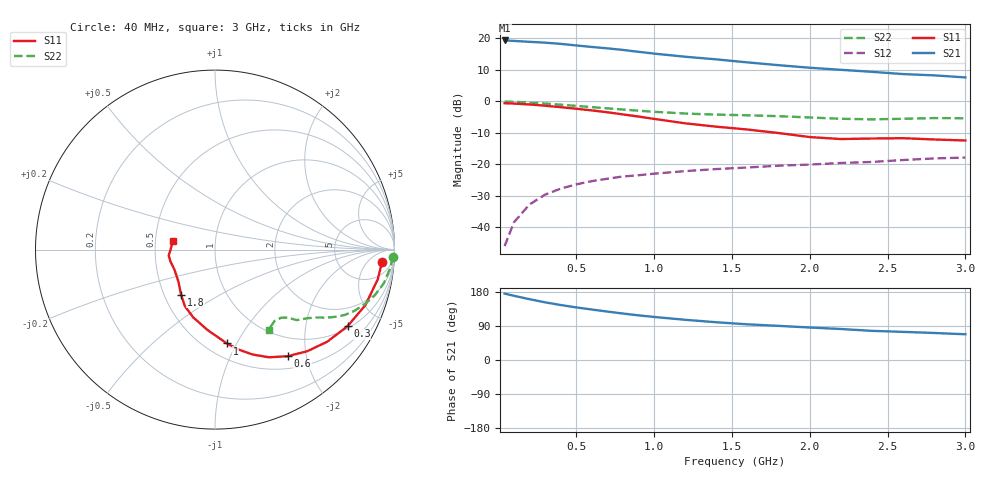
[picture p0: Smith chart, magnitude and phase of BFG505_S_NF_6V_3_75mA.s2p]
! Filename:  BFG505J.S2P  Version:  3.0
! Philips part #: BFG505  Date: Feb 1992
! Bias condition: Vce=6V, Ic=3.75mA
! IN LINE PINNING: same data as with cross emitter pinning.
#  MHz  S  MA  R  50
! Freq  S11  S21  S12  S22  !GUM [dB]
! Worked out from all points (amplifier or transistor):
!   21 points, 40 MHz to 3 GHz, reference 50 ohm
!   highest |S21| = 19.4 dB at 40 MHz (marker M1)
!   |S21| within 3 dB of that: start of sweep to 797.4 MHz
!   unconditionally stable (mu >= 1): 2.008 GHz to end of sweep
!   at 300 MHz: K = 0.20, MSG = 24.1 dB, |S12| = -29.6 dB
!   at 1 GHz: K = 0.58, MSG = 19.1 dB, |S12| = -23.0 dB
!   at 3 GHz: K = 1.11, MAG = 10.7 dB, |S12| = -17.9 dB
!   lowest NFmin = 1.40 dB at 900 MHz
!   S11 on the Smith chart (normalised r, x): 40 MHz: 14, -15; 300 MHz: 1.09, -3.41; 600 MHz: 0.68, -1.68; 1 GHz: 0.63, -0.91; 1.8 GHz: 0.61, -0.34; 3 GHz: 0.62, +0.06
40  0.934 -4.1  9.293 175.3  0.005 86.2  0.99 -2.3
100  0.922 -10.3  9.137 169.4  0.012 83.4  0.983 -5.8
200  0.893 -20.3  8.842 160.5  0.023 77.5  0.959 -11.3
300  0.853 -30.0  8.572 152.2  0.033 72.3  0.925 -16.1
400  0.809 -39.4  8.208 145.1  0.041 67.6  0.886 -20.2
500  0.764 -47.9  7.737 138.8  0.048 64.1  0.848 -23.8
600  0.719 -55.7  7.327 133.2  0.054 61.5  0.81 -26.7
700  0.671 -63.4  6.96 127.8  0.059 59.3  0.775 -28.8
800  0.621 -70.3  6.569 122.6  0.064 57.4  0.742 -30.6
900  0.574 -76.4  6.135 117.8  0.067 55.7  0.711 -32.2
1000  0.527 -82.8  5.745 113.6  0.071 54.9  0.683 -33.6
1200  0.448 -95.7  5.121 106.1  0.078 53.6  0.641 -36.6
1400  0.396 -108.0  4.652 99.6  0.084 53.1  0.616 -39.2
1600  0.357 -118.1  4.165 94.1  0.089 53.7  0.601 -40.8
1800  0.314 -127.1  3.76 90.1  0.095 54.2  0.582 -41.7
2000  0.271 -138.7  3.424 85.7  0.099 54.0  0.555 -43.0
2200  0.252 -153.5  3.175 81.8  0.105 53.8  0.529 -45.9
2400  0.257 -165.2  2.948 76.9  0.109 54.2  0.518 -50.1
2600  0.26 -172.8  2.715 74.2  0.117 55.2  0.529 -54.0
2800  0.248 -179.7  2.591 71.3  0.124 55.6  0.543 -55.8
3000  0.239 168.8  2.403 67.9  0.128 56.1  0.539 -56.3
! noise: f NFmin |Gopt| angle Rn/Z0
900  1.4  0.579  17  0.71
2000  2  0.491  43  0.55
